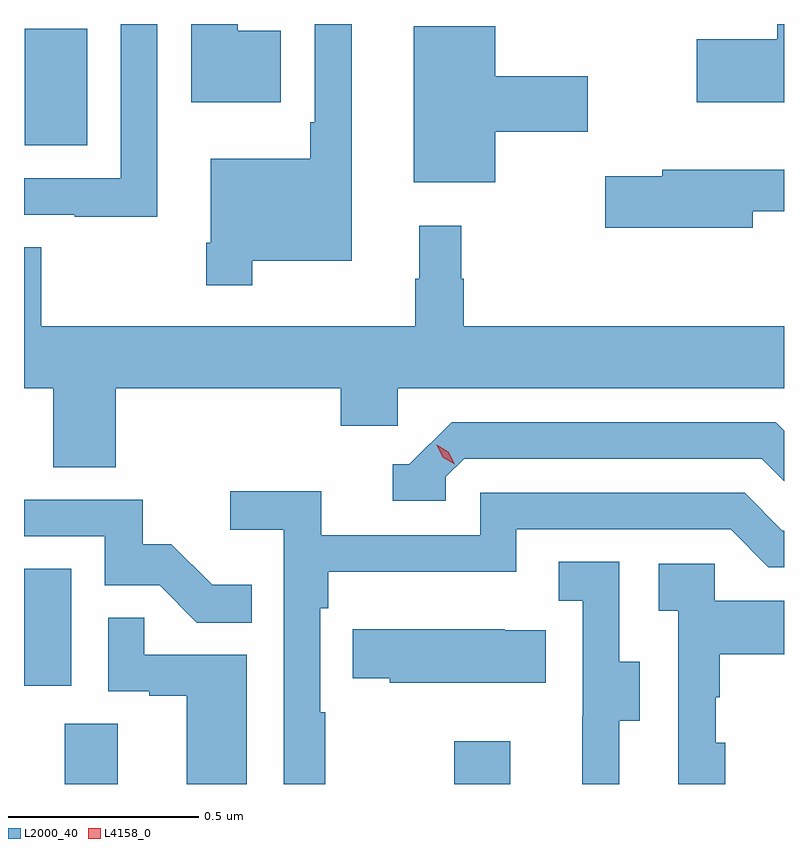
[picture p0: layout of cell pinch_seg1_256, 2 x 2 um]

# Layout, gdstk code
import gdstk
lib = gdstk.Library(unit=1e-6, precision=1e-09)
def R(c, l, rs):  # rectangles x0, y0, x1, y1
    for r in rs: c.add(gdstk.rectangle(r[:2], r[2:], *l))
def P(c, l, *ps):  # polygons
    for p in ps: c.add(gdstk.Polygon(p, *l))
L2000_40 = (2000, 40)
L4158_0 = (4158, 0)

pinch_seg1_256 = lib.new_cell('pinch_seg1_256')
R(pinch_seg1_256, L2000_40, [(903.617,574.667,903.757,574.826), (904.642,574.667,904.789,574.78), (903.51,574.926,903.634,575.233), (903.512,576.348,903.676,576.655)])
P(pinch_seg1_256, L2000_40, [(905.51,576.667),(905.492,576.667),(905.492,576.627),(905.28,576.627),(905.28,576.461),(905.51,576.461)],
  [(903.861,576.667),(903.765,576.667),(903.765,576.261),(903.51,576.261),(903.51,576.165),(903.643,576.165),(903.643,576.16),(903.861,576.16)],
  [(904.111,576.044),(904.372,576.044),(904.372,576.667),(904.275,576.667),(904.275,576.409),(904.263,576.409),(904.263,576.313),(904.002,576.313),(904.002,576.091),(903.99,576.091),(903.99,575.979),(904.111,575.979)],
  [(904.186,576.649),(904.072,576.649),(904.072,576.667),(903.95,576.667),(903.95,576.461),(904.186,576.461)],
  [(904.75,576.383),(904.993,576.383),(904.993,576.53),(904.75,576.53),(904.75,576.661),(904.535,576.661),(904.535,576.251),(904.75,576.251)],
  [(905.428,576.174),(905.51,576.174),(905.51,576.283),(905.189,576.283),(905.189,576.266),(905.04,576.266),(905.04,576.131),(905.428,576.131)],
  [(903.752,575.708),(904.343,575.708),(904.343,575.61),(904.494,575.61),(904.494,575.708),(905.51,575.708),(905.51,575.872),(904.667,575.872),(904.667,575.996),(904.66,575.996),(904.66,576.136),(904.55,576.136),(904.55,575.996),(904.539,575.996),(904.539,575.872),(903.555,575.872),(903.555,576.08),(903.51,576.08),(903.51,575.708),(903.587,575.708),(903.587,575.5),(903.752,575.5)],
  [(904.62,575.475),(904.668,575.523),(905.451,575.523),(905.51,575.464),(905.51,575.597),(905.488,575.619),(904.635,575.619),(904.524,575.508),(904.481,575.508),(904.481,575.412),(904.62,575.412)],
  [(904.303,574.856),(904.29,574.856),(904.29,575.129),(904.31,575.129),(904.31,575.225),(904.806,575.225),(904.806,575.337),(905.37,575.337),(905.469,575.238),(905.51,575.238),(905.51,575.334),(905.506,575.334),(905.407,575.433),(904.71,575.433),(904.71,575.322),(904.292,575.322),(904.292,575.438),(904.053,575.438),(904.053,575.336),(904.194,575.336),(904.194,574.667),(904.303,574.667)],
  [(904.109,575.191),(904.005,575.191),(903.898,575.298),(903.822,575.298),(903.822,575.415),(903.51,575.415),(903.51,575.319),(903.723,575.319),(903.723,575.19),(903.867,575.19),(903.965,575.092),(904.109,575.092)],
  [(905.077,574.834),(905.131,574.834),(905.131,574.989),(905.076,574.989),(905.076,575.252),(904.917,575.252),(904.917,575.149),(904.98,575.149),(904.98,574.845),(904.979,574.845),(904.979,574.667),(905.077,574.667)],
  [(905.356,574.776),(905.331,574.776),(905.331,574.895),(905.341,574.895),(905.341,575.009),(905.51,575.009),(905.51,575.149),(905.328,575.149),(905.328,575.247),(905.181,575.247),(905.181,575.123),(905.232,575.123),(905.232,574.667),(905.356,574.667)],
  [(904.096,575.007),(903.827,575.007),(903.827,575.105),(903.732,575.105),(903.732,574.911),(903.839,574.911),(903.839,574.899),(903.938,574.899),(903.938,574.667),(904.096,574.667)],
  [(904.883,575.071),(904.775,575.071),(904.775,575.074),(904.375,575.074),(904.375,574.945),(904.473,574.945),(904.473,574.934),(904.883,574.934)])
P(pinch_seg1_256, L4158_0, [(904.643,575.508),(904.612,575.527),(904.596,575.56),(904.596,575.56),(904.596,575.56),(904.627,575.541),(904.643,575.508),(904.643,575.508)])

lib.write_gds('pinch_seg1_256.gds')
